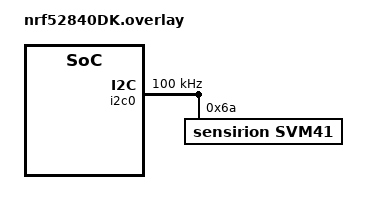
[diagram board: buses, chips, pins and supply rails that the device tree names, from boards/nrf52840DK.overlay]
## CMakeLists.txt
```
cmake_minimum_required(VERSION 3.20.0)

list(APPEND ZEPHYR_EXTRA_MODULES
  ${CMAKE_CURRENT_SOURCE_DIR}/drivers
)

find_package(Zephyr REQUIRED HINTS $ENV{ZEPHYR_BASE})

project(svm41_zephyr_driver)

target_sources(app PRIVATE src/main.c)
zephyr_include_directories(drivers)
```

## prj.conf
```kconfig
CONFIG_I2C=y
CONFIG_SENSOR=y
CONFIG_SVM41=y
CONFIG_PWM=y
CONFIG_LOG=y
CONFIG_CBPRINTF_FP_SUPPORT=y
```

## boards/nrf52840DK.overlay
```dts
&i2c0 {
	status = "okay";
	clock-frequency = <I2C_BITRATE_STANDARD>;

	svm41@6a {
		status = "okay";
		compatible = "sensirion,svm41";
		reg = <0x6a>;
		model = "svm41";

	};

};
```

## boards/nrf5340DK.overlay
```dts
&i2c1 {
	status = "okay";
	clock-frequency = <I2C_BITRATE_STANDARD>;
	pinctrl-0 = <&i2c1_default>;
	pinctrl-1 = <&i2c1_sleep>;
	pinctrl-names = "default", "sleep";

	compatible = "nordic,nrf-twim";

	svm41@6a {
		status = "okay";
		compatible = "sensirion,svm41";
		reg = <0x6a>; 
		model = "svm41";

	};

};


// &pinctrl {
// 	i2c1_default: i2c1_default{
// 		group1 {
// 			psels = <NRF_PSEL(TWIM_SDA, 0, 5)>,
// 					<NRF_PSEL(TWIM_SCL, 0, 4)>;
// 		};
// 	};

// 	i2c1_sleep: i2c1_sleep{
// 		group1 {
// 			psels = <NRF_PSEL(TWIM_SDA, 0, 5)>,
// 					<NRF_PSEL(TWIM_SCL, 0, 4)>;
// 			low-power-enable;
// 		};
// 	};

// };
```

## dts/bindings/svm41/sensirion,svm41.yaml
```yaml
description: Sensirion SVM41 air quality sensor board

compatible: "sensirion,svm41"

include: i2c-device.yaml

properties:
  model:
    type: string
    required: true
    description: |
      The sensor model in use
    enum:
        - "svm41"
```

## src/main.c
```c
#include <zephyr/kernel.h>
#include <zephyr/device.h>
#include <zephyr/drivers/sensor.h>
#include "sensor/svm41/svm41.h"

#if !DT_HAS_COMPAT_STATUS_OKAY(sensirion_svm41)
#error "No sensirion,svm41 compatible node found in the device tree"
#endif

int main(void)
{

        const struct device *svm41 = DEVICE_DT_GET_ANY(sensirion_svm41);

        if (!device_is_ready(svm41))
        {
                printk("Device Ready!");
                return 1;
        }
        struct sensor_value humidity, temperature, voc_index, nox_index;

        while (true)
        {
                sensor_sample_fetch(svm41);
                sensor_channel_get(svm41, SENSOR_CHAN_HUMIDITY, &humidity);
                printk("Humidity from sensor %f\n", sensor_value_to_double(&humidity));
                sensor_channel_get(svm41, SENSOR_CHAN_AMBIENT_TEMP, &temperature);
                printk("Temperature from sensor %f\n", sensor_value_to_double(&temperature));
                sensor_channel_get(svm41, SENSOR_CHAN_VOC_INDEX, &voc_index);
                printk("VOC Index from sensor %f\n", sensor_value_to_double(&voc_index));
                sensor_channel_get(svm41, SENSOR_CHAN_NOX_INDEX, &nox_index);
                printk("NOX Index from sensor %f\n", sensor_value_to_double(&nox_index));
                k_sleep(K_MSEC(10000));
        }
        return 0;
}

// #include <zephyr/kernel.h>
// #include <zephyr/device.h>
// #include <zephyr/drivers/i2c.h>
// #include <string.h>
// #include <stdlib.h>
// #include <math.h>
// #include <zephyr/sys/byteorder.h>

// #define I2C_ACCEL_WRITE_ADDR 0x32
// #define I2C_ACCEL_READ_ADDR 0x75

// struct device *i2c_accel;
// uint8_t WhoAmI = 0u;

// #define I2C_NODE DT_NODELABEL(i2c0) //DT_N_S_soc_S_i2c_40003000

// static const struct device *i2c_dev = DEVICE_DT_GET(I2C_NODE);

// void main(void)
// {
//         k_sleep(K_MSEC(500));

//         printk("Starting i2c scanner...\n");
//         if (!i2c_dev)
//         {
//                 printk("I2C: Device driver not found.\n");
//                 return;
//         }

//         uint8_t error = 0u;

//         i2c_configure(i2c_dev, I2C_SPEED_SET(I2C_SPEED_STANDARD));

//         printk("Value of NRF_TWI0->PSEL.SCL: %ld \n", NRF_TWI0->PSEL.SCL);
//         printk("Value of NRF_TWI0->PSEL.SDA: %ld \n", NRF_TWI0->PSEL.SDA);
//         printk("Value of NRF_TWI0->FREQUENCY: %ld \n", NRF_TWI0->FREQUENCY);
//         printk("26738688 -> 100k\n");

//         for (uint8_t i = 4; i <= 0x77; i++)
//         {
//                 struct i2c_msg msgs[1];
//                 uint8_t dst = 1;

//                 /* Send the address to read from */
//                 msgs[0].buf = &dst;
//                 msgs[0].len = 1U;
//                 msgs[0].flags = I2C_MSG_WRITE | I2C_MSG_STOP;

//                 error = i2c_transfer(i2c_dev, &msgs[0], 1, i);
//                 if (error == 0)
//                 {
//                         printk("0x%2x FOUND\n", i);
//                         uint8_t tx_buf[2] = {0, 0};

//                         sys_put_be16(0x104, tx_buf);
//                         msgs[0].buf = &tx_buf;
//                         msgs[0].len = 2U;
//                         error = i2c_transfer(i2c_dev, &msgs[0], 1, i);

//                         k_sleep(K_MSEC(100));

//                         printk("error: %d", error);

//                         sys_put_be16(0x10, tx_buf);
//                         msgs[0].buf = &tx_buf;
//                         msgs[0].len = 2U;
//                         error = i2c_transfer(i2c_dev, &msgs[0], 1, i);

//                         printk("error: %d", error);
//                 }
//                 else
//                 {
//                         // printk("error %d \n", error);
//                 }
//         }
// }
```
